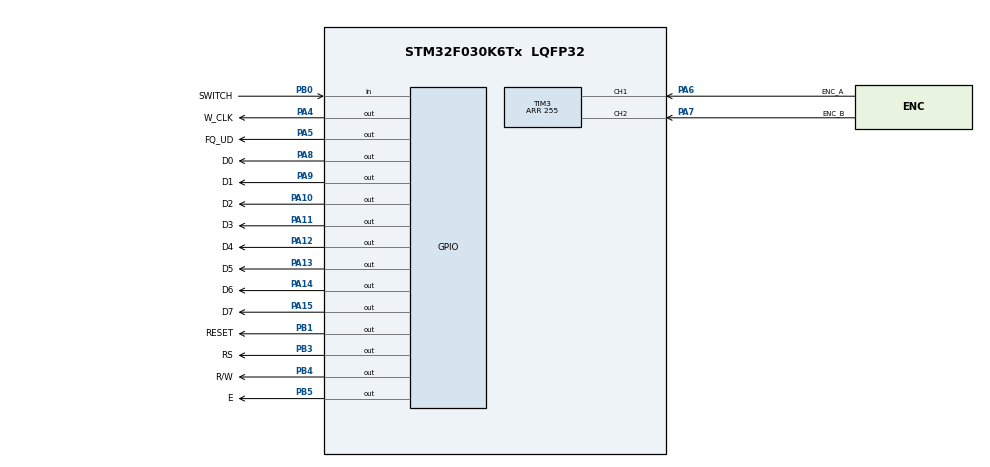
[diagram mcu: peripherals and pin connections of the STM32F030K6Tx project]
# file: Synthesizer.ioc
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Mcu.Family=STM32F0
Mcu.Name=STM32F030K6Tx
Mcu.Package=LQFP32
NVIC.TIM3_IRQn=true\:0\:0\:true\:true\:true\:1
PA10.GPIO_FMA10=I2C_FASTMODEPLUS_PA10
PA10.GPIO_Label=D2
PA10.GPIO_ModeDefaultOutputPP=GPIO_MODE_OUTPUT_PP
PA10.GPIO_PuPd=GPIO_NOPULL
PA10.GPIO_Speed=GPIO_SPEED_FREQ_HIGH
PA10.Signal=GPIO_Output
PA11.GPIO_Label=D3
PA11.GPIO_ModeDefaultOutputPP=GPIO_MODE_OUTPUT_PP
PA11.GPIO_PuPd=GPIO_NOPULL
PA11.GPIO_Speed=GPIO_SPEED_FREQ_HIGH
PA11.Signal=GPIO_Output
PA12.GPIO_Label=D4
PA12.GPIO_ModeDefaultOutputPP=GPIO_MODE_OUTPUT_PP
PA12.GPIO_PuPd=GPIO_NOPULL
PA12.GPIO_Speed=GPIO_SPEED_FREQ_HIGH
PA12.Signal=GPIO_Output
PA13.GPIO_Label=D5
PA13.GPIO_ModeDefaultOutputPP=GPIO_MODE_OUTPUT_PP
PA13.GPIO_PuPd=GPIO_NOPULL
PA13.GPIO_Speed=GPIO_SPEED_FREQ_HIGH
PA13.Signal=GPIO_Output
PA14.GPIO_Label=D6
PA14.GPIO_ModeDefaultOutputPP=GPIO_MODE_OUTPUT_PP
PA14.GPIO_PuPd=GPIO_NOPULL
PA14.GPIO_Speed=GPIO_SPEED_FREQ_HIGH
PA14.Signal=GPIO_Output
PA15.GPIO_Label=D7
PA15.GPIO_ModeDefaultOutputPP=GPIO_MODE_OUTPUT_PP
PA15.GPIO_PuPd=GPIO_NOPULL
PA15.GPIO_Speed=GPIO_SPEED_FREQ_HIGH
PA15.Signal=GPIO_Output
PA4.GPIO_Label=W_CLK
PA4.GPIO_ModeDefaultOutputPP=GPIO_MODE_OUTPUT_PP
PA4.GPIO_PuPd=GPIO_NOPULL
PA4.GPIO_Speed=GPIO_SPEED_FREQ_HIGH
PA4.Signal=GPIO_Output
PA5.GPIO_Label=FQ_UD
PA5.GPIO_ModeDefaultOutputPP=GPIO_MODE_OUTPUT_PP
PA5.GPIO_PuPd=GPIO_NOPULL
PA5.GPIO_Speed=GPIO_SPEED_FREQ_HIGH
PA5.Signal=GPIO_Output
PA6.GPIO_Label=ENC_A
PA6.GPIO_ModeDefaultPP=GPIO_MODE_AF_PP
PA6.GPIO_PuPd=GPIO_PULLUP
PA6.GPIO_Speed=GPIO_SPEED_FREQ_LOW
PA6.Signal=S_TIM3_CH1
PA7.GPIO_Label=ENC_B
PA7.GPIO_ModeDefaultPP=GPIO_MODE_AF_PP
PA7.GPIO_PuPd=GPIO_PULLUP
PA7.GPIO_Speed=GPIO_SPEED_FREQ_LOW
PA7.Signal=S_TIM3_CH2
PA8.GPIO_Label=D0
PA8.GPIO_ModeDefaultOutputPP=GPIO_MODE_OUTPUT_PP
PA8.GPIO_PuPd=GPIO_NOPULL
PA8.GPIO_Speed=GPIO_SPEED_FREQ_HIGH
PA8.Signal=GPIO_Output
PA9.GPIO_FMA9=I2C_FASTMODEPLUS_PA9
PA9.GPIO_Label=D1
PA9.GPIO_ModeDefaultOutputPP=GPIO_MODE_OUTPUT_PP
PA9.GPIO_PuPd=GPIO_NOPULL
PA9.GPIO_Speed=GPIO_SPEED_FREQ_HIGH
PA9.Signal=GPIO_Output
PB0.GPIO_Label=SWITCH
PB0.GPIO_Mode=GPIO_MODE_INPUT
PB0.GPIO_PuPd=GPIO_PULLUP
PB0.Signal=GPIO_Input
PB1.GPIO_Label=RESET
PB1.GPIO_ModeDefaultOutputPP=GPIO_MODE_OUTPUT_PP
PB1.GPIO_PuPd=GPIO_NOPULL
PB1.GPIO_Speed=GPIO_SPEED_FREQ_HIGH
PB1.Signal=GPIO_Output
PB3.GPIO_Label=RS
PB3.GPIO_ModeDefaultOutputPP=GPIO_MODE_OUTPUT_PP
PB3.GPIO_PuPd=GPIO_NOPULL
PB3.GPIO_Speed=GPIO_SPEED_FREQ_HIGH
PB3.Signal=GPIO_Output
PB4.GPIO_Label=R/W
PB4.GPIO_ModeDefaultOutputPP=GPIO_MODE_OUTPUT_PP
PB4.GPIO_PuPd=GPIO_NOPULL
PB4.GPIO_Speed=GPIO_SPEED_FREQ_HIGH
PB4.Signal=GPIO_Output
PB5.GPIO_Label=E
PB5.GPIO_ModeDefaultOutputPP=GPIO_MODE_OUTPUT_PP
PB5.GPIO_PuPd=GPIO_NOPULL
PB5.GPIO_Speed=GPIO_SPEED_FREQ_HIGH
PB5.Signal=GPIO_Output
PF0-OSC_IN.Mode=HSE-External-Oscillator
PF0-OSC_IN.Signal=RCC_OSC_IN
PF1-OSC_OUT.Mode=HSE-External-Oscillator
PF1-OSC_OUT.Signal=RCC_OSC_OUT
ProjectManager.HeapSize=0x200
ProjectManager.StackSize=0x400
ProjectManager.TargetToolchain=MDK-ARM V5
SH.S_TIM3_CH1.0=TIM3_CH1,Encoder_Interface
SH.S_TIM3_CH2.0=TIM3_CH2,Encoder_Interface
TIM3.CounterMode=TIM_COUNTERMODE_UP
TIM3.EncoderMode=TIM_ENCODERMODE_TI1
TIM3.IC1Polarity=TIM_ICPOLARITY_FALLING
TIM3.IC2Polarity=TIM_ICPOLARITY_FALLING
TIM3.Period=255
board=Synthesizer

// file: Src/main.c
/**
  ******************************************************************************
  * File Name          : main.c
  * Description        : Main program body
  ******************************************************************************
  *
  * COPYRIGHT(c) 2016 STMicroelectronics
  *
  * Redistribution and use in source and binary forms, with or without modification,
  * are permitted provided that the following conditions are met:
  *   1. Redistributions of source code must retain the above copyright notice,
  *      this list of conditions and the following disclaimer.
  *   2. Redistributions in binary form must reproduce the above copyright notice,
  *      this list of conditions and the following disclaimer in the documentation
  *      and/or other materials provided with the distribution.
  *   3. Neither the name of STMicroelectronics nor the names of its contributors
  *      may be used to endorse or promote products derived from this software
  *      without specific prior written permission.
  *
  * THIS SOFTWARE IS PROVIDED BY THE COPYRIGHT HOLDERS AND CONTRIBUTORS "AS IS"
  * AND ANY EXPRESS OR IMPLIED WARRANTIES, INCLUDING, BUT NOT LIMITED TO, THE
  * IMPLIED WARRANTIES OF MERCHANTABILITY AND FITNESS FOR A PARTICULAR PURPOSE ARE
  * DISCLAIMED. IN NO EVENT SHALL THE COPYRIGHT HOLDER OR CONTRIBUTORS BE LIABLE
  * FOR ANY DIRECT, INDIRECT, INCIDENTAL, SPECIAL, EXEMPLARY, OR CONSEQUENTIAL
  * DAMAGES (INCLUDING, BUT NOT LIMITED TO, PROCUREMENT OF SUBSTITUTE GOODS OR
  * SERVICES; LOSS OF USE, DATA, OR PROFITS; OR BUSINESS INTERRUPTION) HOWEVER
  * CAUSED AND ON ANY THEORY OF LIABILITY, WHETHER IN CONTRACT, STRICT LIABILITY,
  * OR TORT (INCLUDING NEGLIGENCE OR OTHERWISE) ARISING IN ANY WAY OUT OF THE USE
  * OF THIS SOFTWARE, EVEN IF ADVISED OF THE POSSIBILITY OF SUCH DAMAGE.
  *
  ******************************************************************************
  */
#include "stm32f0xx_hal.h"

/* USER CODE BEGIN Includes */
//#include "hd44780.h"
#include "hd44780_stm32f0xx.h"
//#include "ad9850.h"
#include "ad9850_stm32f0xx.h"
/* USER CODE END Includes */

TIM_HandleTypeDef htim3;

/* USER CODE BEGIN PV */
/* Private variables ---------------------------------------------------------*/
HD44780 lcd;
HD44780_STM32F0xx_GPIO_Driver lcd_pindriver;
volatile uint32_t systick_ms = 0;
AD9850 dds;
AD9850_STM32F0xx_GPIO_Driver dds_pindriver;
uint16_t encoder_event;
uint64_t frequency = 2000000;

/* Encoder accuracy */
typedef enum
{
	EXTRAFINE   = 0x00,
	FINE        = 0x01,
	NORMAL      = 0x02,
	COARSE      = 0x03,
	EXTRACOARSE = 0x04,
} EncoderAccuracyTypeDef;

EncoderAccuracyTypeDef EncoderAccuracy = EXTRAFINE;

const unsigned EncoderStep[] = {1, 5, 9, 13, 17};  /* {EXTRAFINE, FINE, NORMAL, COARSE, EXTRACOARSE}    frequency +- (1 << x) */
/* USER CODE END PV */

void SystemClock_Config(void);
void Error_Handler(void);
static void MX_GPIO_Init(void);
static void MX_TIM3_Init(void);
static void MX_NVIC_Init(void);

/* USER CODE BEGIN PFP */
/* Private function prototypes -----------------------------------------------*/
void init_lcd(void);
void delay_microseconds(uint16_t us);
uint32_t uint32_time_diff(uint32_t now, uint32_t before);
void hd44780_assert_failure_handler(const char *filename, unsigned long line);
void init_AD9850(void);
void ad9850_assert_failure_handler(const char *filename, unsigned long line);
/* USER CODE END PFP */

/* USER CODE BEGIN 0 */
#define CW  0
#define CCW 1
/* USER CODE END 0 */

int main(void)
{

  /* MCU Configuration----------------------------------------------------------*/

  /* Reset of all peripherals, Initializes the Flash interface and the Systick. */
  HAL_Init();

  /* Configure the system clock */
  SystemClock_Config();

  /* Initialize all configured peripherals */
  MX_GPIO_Init();
  MX_TIM3_Init();

  /* Initialize interrupts */
  MX_NVIC_Init();

  /* USER CODE BEGIN 2 */
	init_lcd();
	hd44780_clear(&lcd);

	init_AD9850();

	HAL_TIM_Encoder_Start_IT(&htim3, TIM_CHANNEL_ALL);

  /* USER CODE END 2 */

  /* Infinite loop */
  /* USER CODE BEGIN WHILE */
	uint8_t steps;
  while (1)
  {
  /* USER CODE END WHILE */

  /* USER CODE BEGIN 3 */

		static uint32_t lcd_update_ms = 0;

    if (uint32_time_diff(HAL_GetTick(), lcd_update_ms) >= 10)
    {
      lcd_update_ms = HAL_GetTick();

      static unsigned counter = 0;

			if (encoder_event > 0)
			{
        const size_t buf_size = lcd.columns_amount + 1;
        char buf[buf_size];

        snprintf(buf, buf_size, "F = %llu.%02llu Hz", frequency / 100, frequency % 100);

        ++counter;

        hd44780_move_cursor(&lcd, 0, 0);
        hd44780_write_string(&lcd, buf);

			  if (__HAL_TIM_IS_TIM_COUNTING_DOWN(&htim3) == CW)
          frequency += 1 << EncoderStep[EncoderAccuracy];
				else
          frequency -= 1 << EncoderStep[EncoderAccuracy];

				if (frequency < 1000 || frequency > 8000000000) frequency = 1000;
				snprintf(buf, buf_size, "Enc_val: %u:%s ", encoder_event/*__HAL_TIM_GET_COUNTER(&htim3)*/, __HAL_TIM_IS_TIM_COUNTING_DOWN(&htim3) == CW ? "CW" : "CCW");
			  hd44780_move_cursor(&lcd, 0, 1);
        hd44780_write_string(&lcd, buf);

			  ad9850_frequency_update(&dds, frequency);
				encoder_event = 0;
			}
    }

  }

  /* USER CODE END 3 */

}

/** System Clock Configuration
*/
void SystemClock_Config(void)
{

  RCC_OscInitTypeDef RCC_OscInitStruct;
  RCC_ClkInitTypeDef RCC_ClkInitStruct;

  RCC_OscInitStruct.OscillatorType = RCC_OSCILLATORTYPE_HSI;
  RCC_OscInitStruct.HSIState = RCC_HSI_ON;
  RCC_OscInitStruct.HSICalibrationValue = 16;
  RCC_OscInitStruct.PLL.PLLState = RCC_PLL_NONE;
  if (HAL_RCC_OscConfig(&RCC_OscInitStruct) != HAL_OK)
  {
    Error_Handler();
  }

  RCC_ClkInitStruct.ClockType = RCC_CLOCKTYPE_HCLK|RCC_CLOCKTYPE_SYSCLK
                              |RCC_CLOCKTYPE_PCLK1;
  RCC_ClkInitStruct.SYSCLKSource = RCC_SYSCLKSOURCE_HSI;
  RCC_ClkInitStruct.AHBCLKDivider = RCC_SYSCLK_DIV1;
  RCC_ClkInitStruct.APB1CLKDivider = RCC_HCLK_DIV1;
  if (HAL_RCC_ClockConfig(&RCC_ClkInitStruct, FLASH_LATENCY_0) != HAL_OK)
  {
    Error_Handler();
  }

  HAL_SYSTICK_Config(HAL_RCC_GetHCLKFreq()/1000);

  HAL_SYSTICK_CLKSourceConfig(SYSTICK_CLKSOURCE_HCLK);

  /* SysTick_IRQn interrupt configuration */
  HAL_NVIC_SetPriority(SysTick_IRQn, 0, 0);
}

/** NVIC Configuration
*/
static void MX_NVIC_Init(void)
{
  /* TIM3_IRQn interrupt configuration */
  HAL_NVIC_SetPriority(TIM3_IRQn, 0, 0);
  HAL_NVIC_EnableIRQ(TIM3_IRQn);
}

/* TIM3 init function */
static void MX_TIM3_Init(void)
{

  TIM_Encoder_InitTypeDef sConfig;
  TIM_MasterConfigTypeDef sMasterConfig;

  htim3.Instance = TIM3;
  htim3.Init.Prescaler = 0;
  htim3.Init.CounterMode = TIM_COUNTERMODE_UP;
  htim3.Init.Period = 255;
  htim3.Init.ClockDivision = TIM_CLOCKDIVISION_DIV1;
  sConfig.EncoderMode = TIM_ENCODERMODE_TI1;
  sConfig.IC1Polarity = TIM_ICPOLARITY_FALLING;
  sConfig.IC1Selection = TIM_ICSELECTION_DIRECTTI;
  sConfig.IC1Prescaler = TIM_ICPSC_DIV1;
  sConfig.IC1Filter = 1;
  sConfig.IC2Polarity = TIM_ICPOLARITY_FALLING;
  sConfig.IC2Selection = TIM_ICSELECTION_DIRECTTI;
  sConfig.IC2Prescaler = TIM_ICPSC_DIV1;
  sConfig.IC2Filter = 1;
  if (HAL_TIM_Encoder_Init(&htim3, &sConfig) != HAL_OK)
  {
    Error_Handler();
  }

  sMasterConfig.MasterOutputTrigger = TIM_TRGO_RESET;
  sMasterConfig.MasterSlaveMode = TIM_MASTERSLAVEMODE_DISABLE;
  if (HAL_TIMEx_MasterConfigSynchronization(&htim3, &sMasterConfig) != HAL_OK)
  {
    Error_Handler();
  }

}

/** Configure pins as
        * Analog
        * Input
        * Output
        * EVENT_OUT
        * EXTI
*/
static void MX_GPIO_Init(void)
{

  GPIO_InitTypeDef GPIO_InitStruct;

  /* GPIO Ports Clock Enable */
  __HAL_RCC_GPIOF_CLK_ENABLE();
  __HAL_RCC_GPIOA_CLK_ENABLE();
  __HAL_RCC_GPIOB_CLK_ENABLE();

  /*Configure GPIO pin Output Level */
  HAL_GPIO_WritePin(GPIOA, W_CLK_Pin|FQ_UD_Pin|D0_Pin|D1_Pin
                          |D2_Pin|D3_Pin|D4_Pin|D5_Pin
                          |D6_Pin|D7_Pin, GPIO_PIN_RESET);

  /*Configure GPIO pin Output Level */
  HAL_GPIO_WritePin(GPIOB, RESET_Pin|RS_Pin|R_W_Pin|E_Pin, GPIO_PIN_RESET);

  /*Configure GPIO pins : W_CLK_Pin FQ_UD_Pin D0_Pin D1_Pin
                           D2_Pin D3_Pin D4_Pin D5_Pin
                           D6_Pin D7_Pin */
  GPIO_InitStruct.Pin = W_CLK_Pin|FQ_UD_Pin|D0_Pin|D1_Pin
                          |D2_Pin|D3_Pin|D4_Pin|D5_Pin
                          |D6_Pin|D7_Pin;
  GPIO_InitStruct.Mode = GPIO_MODE_OUTPUT_PP;
  GPIO_InitStruct.Pull = GPIO_NOPULL;
  GPIO_InitStruct.Speed = GPIO_SPEED_FREQ_HIGH;
  HAL_GPIO_Init(GPIOA, &GPIO_InitStruct);

  /*Configure GPIO pin : SWITCH_Pin */
  GPIO_InitStruct.Pin = SWITCH_Pin;
  GPIO_InitStruct.Mode = GPIO_MODE_INPUT;
  GPIO_InitStruct.Pull = GPIO_PULLUP;
  HAL_GPIO_Init(SWITCH_GPIO_Port, &GPIO_InitStruct);

  /*Configure GPIO pins : RESET_Pin RS_Pin R_W_Pin E_Pin */
  GPIO_InitStruct.Pin = RESET_Pin|RS_Pin|R_W_Pin|E_Pin;
  GPIO_InitStruct.Mode = GPIO_MODE_OUTPUT_PP;
  GPIO_InitStruct.Pull = GPIO_NOPULL;
  GPIO_InitStruct.Speed = GPIO_SPEED_FREQ_HIGH;
  HAL_GPIO_Init(GPIOB, &GPIO_InitStruct);

  /**/
  HAL_I2CEx_EnableFastModePlus(I2C_FASTMODEPLUS_PA9);

  /**/
  HAL_I2CEx_EnableFastModePlus(I2C_FASTMODEPLUS_PA10);

}

/* USER CODE BEGIN 4 */

void init_lcd(void)
{
  const HD44780_STM32F0xx_Pinout lcd_pinout =
  {
    {
      /* RS        */  { GPIOB, GPIO_PIN_3 },
      /* ENABLE    */  { GPIOB, GPIO_PIN_5 },
      /* RW        */  { GPIOB, GPIO_PIN_4 },
      /* Backlight */  { NULL, 0 },
      /* DP0       */  { GPIOA, GPIO_PIN_8 },
      /* DP1       */  { GPIOA, GPIO_PIN_9 },
      /* DP2       */  { GPIOA, GPIO_PIN_10 },
      /* DP3       */  { GPIOA, GPIO_PIN_11 },
      /* DP4       */  { GPIOA, GPIO_PIN_12 },
      /* DP5       */  { GPIOA, GPIO_PIN_13 },
      /* DP6       */  { GPIOA, GPIO_PIN_14 },
      /* DP7       */  { GPIOA, GPIO_PIN_15 },
    }
  };

  lcd_pindriver.interface = HD44780_STM32F0XX_PINDRIVER_INTERFACE;
  lcd_pindriver.pinout = lcd_pinout;
  lcd_pindriver.assert_failure_handler = hd44780_assert_failure_handler;

  const HD44780_Config lcd_config =
  {
    (HD44780_GPIO_Interface*)&lcd_pindriver,
    delay_microseconds,
    hd44780_assert_failure_handler,
    HD44780_OPT_USE_RW
  };

  hd44780_init(&lcd, HD44780_MODE_8BIT, &lcd_config, 16, 2, HD44780_CHARSIZE_5x8);
}

void init_AD9850(void)
{
  const AD9850_STM32F0xx_Pinout dds_pinout =
  {
    {
      /* RESET     */  { GPIOB, GPIO_PIN_1 },
      /* FQ_UD     */  { GPIOA, GPIO_PIN_5 },
      /* W_CLK     */  { GPIOA, GPIO_PIN_4 },
      /* D0        */  { GPIOA, GPIO_PIN_8 },
      /* D1        */  { GPIOA, GPIO_PIN_9 },
      /* D2        */  { GPIOA, GPIO_PIN_10 },
      /* D3        */  { GPIOA, GPIO_PIN_11 },
      /* D4        */  { GPIOA, GPIO_PIN_12 },
      /* D5        */  { GPIOA, GPIO_PIN_13 },
      /* D6        */  { GPIOA, GPIO_PIN_14 },
      /* D7        */  { GPIOA, GPIO_PIN_15 },
    }
  };

  dds_pindriver.interface = AD9850_STM32F0XX_PINDRIVER_INTERFACE;
  dds_pindriver.pinout = dds_pinout;
  dds_pindriver.assert_failure_handler = ad9850_assert_failure_handler;

  const AD9850_Config dds_config =
  {
    125000000,              // clock frequency
		AD9850_MODE_PARALLEL,
		(AD9850_GPIO_Interface*)&dds_pindriver,
    ad9850_assert_failure_handler
  };

  ad9850_init(&dds, &dds_config);

}

void delay_microseconds(uint16_t us)
{
  HAL_Delay(((uint32_t)us / 1000) + (us % 1000 ? 1 : 0));
}

uint32_t uint32_time_diff(uint32_t now, uint32_t before)
{
  return (now >= before) ? (now - before) : (UINT32_MAX - before + now);
}

void hd44780_assert_failure_handler(const char *filename, unsigned long line)
{
  (void)filename; (void)line;
  do {} while (1);
}

void ad9850_assert_failure_handler(const char *filename, unsigned long line)
{
  (void)filename; (void)line;
  do {} while (1);
}

void HAL_TIM_IC_CaptureCallback(TIM_HandleTypeDef *htim)
{
	static uint8_t PreviousEncoderValue;
	static uint32_t PreviousTick = 0;
	static uint16_t EncoderAverageStepTime = 64 * 2;
	uint16_t step_time;
	uint16_t average_time;

	if (__HAL_TIM_GET_COUNTER(htim) != PreviousEncoderValue)
	{
	  step_time = (HAL_GetTick() - PreviousTick) > 500 ? 500 : HAL_GetTick() - PreviousTick;

		if (step_time < 500) // < 0.5 sec
		{
      average_time = EncoderAverageStepTime >> 1;
			EncoderAverageStepTime = EncoderAverageStepTime - average_time + step_time;
			if (average_time > 128)
			  EncoderAccuracy = EXTRAFINE;
			else
        if (average_time > 64)
          EncoderAccuracy = FINE;
        else
				  if (average_time > 32)
            EncoderAccuracy = NORMAL;
					else
				    if (average_time > 16)
              EncoderAccuracy = COARSE;
					  else
              EncoderAccuracy = EXTRACOARSE;
		}
    else
      if (EncoderAccuracy > FINE)
      {
				EncoderAccuracy = FINE;
				EncoderAverageStepTime = 128 * 2;
			}

		if (__HAL_TIM_IS_TIM_COUNTING_DOWN(&htim3) == CW)
		{
		  if (__HAL_TIM_GET_COUNTER(htim) > PreviousEncoderValue)
				encoder_event = __HAL_TIM_GET_COUNTER(htim) - PreviousEncoderValue;
			else
				encoder_event = 256 + __HAL_TIM_GET_COUNTER(htim) - PreviousEncoderValue;
		}
		else
		{
		  if (__HAL_TIM_GET_COUNTER(htim) < PreviousEncoderValue)
				encoder_event = PreviousEncoderValue - __HAL_TIM_GET_COUNTER(htim);
			else
				encoder_event = 256 + PreviousEncoderValue - __HAL_TIM_GET_COUNTER(htim);
		}
		PreviousEncoderValue = __HAL_TIM_GET_COUNTER(htim);
    PreviousTick = HAL_GetTick();
	}
}

/* USER CODE END 4 */

void Error_Handler(void)
{
  while(1)
  {
  }
}

/************************ (C) COPYRIGHT STMicroelectronics *****END OF FILE****/
